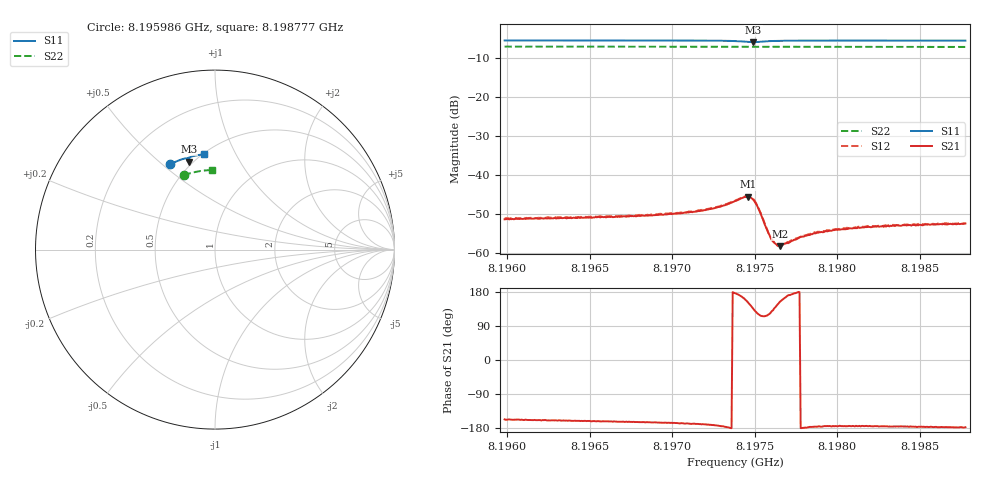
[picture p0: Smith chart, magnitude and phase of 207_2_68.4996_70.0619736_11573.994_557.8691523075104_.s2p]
#  HZ  S  RI  R  50.00
! Rohde & Schwarz Vector Network Analyzer
! Rohde-Schwarz,ZNB20-2Port,1311601062101988,3.16
! Created: UTC 3/20/2024, 5:12:59 PM
! freq[Hz]  re:S11  im:S11  re:S21  im:S21  re:S12  im:S12  re:S22  im:S22
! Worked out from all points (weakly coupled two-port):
!   401 points, 8.195986 GHz to 8.198777 GHz, reference 50 ohm
!   highest |S21| = -45.56 dB at 8.197458 GHz (marker M1); lowest = -58.3 dB at 8.197653 GHz (marker M2)
!   lowest |S11| = -5.8 dB at 8.197493 GHz (marker M3), VSWR 3.09, Z = 23.8 + j31.6 ohm
!   |S11| at or under -10 dB: nowhere
!   |S22| runs from -7.1 to -7.0 dB; largest |S21 - S12| = 0.00026
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8.1959856e9  -0.2485 0.4759  -0.00249 -0.00107  -0.00261 -0.00096  -0.173 0.4133
8.1964531e9  -0.218 0.4901  -0.0027 -0.000946  -0.00278 -0.000828  -0.1482 0.4219
8.1969206e9  -0.186 0.5026  -0.00298 -0.000791  -0.0031 -0.000683  -0.123 0.4293
8.1970811e9  -0.1741 0.5061  -0.00322 -0.000701  -0.00328 -0.000596  -0.114 0.4314
8.1971858e9  -0.1656 0.5081  -0.00344 -0.000654  -0.00355 -0.000487  -0.1083 0.4326
8.1972974e9  -0.1551 0.5093  -0.00395 -0.000364  -0.00406 -0.00023  -0.102 0.4338
8.1973812e9  -0.1452 0.5072  -0.00464 0.000289  -0.00467 0.000464  -0.0972 0.4348
8.19743e9  -0.1395 0.5016  -0.00495 0.00139  -0.00493 0.00157  -0.0945 0.4352
8.1974579e9  -0.139 0.496  -0.00469 0.0024  -0.00469 0.00263  -0.0931 0.4352
8.1974788e9  -0.1417 0.4917  -0.00405 0.00311  -0.00403 0.00334  -0.092 0.4353
8.1974928e9  -0.1446 0.49  -0.00337 0.00341  -0.00331 0.00363  -0.0914 0.4355
8.1975068e9  -0.148 0.4899  -0.00264 0.00343  -0.00259 0.00361  -0.0907 0.4356
8.1975277e9  -0.1525 0.4923  -0.00174 0.00308  -0.00165 0.00321  -0.0898 0.4358
8.1975696e9  -0.1547 0.5003  -0.000944 0.00189  -0.00091 0.00197  -0.0874 0.4365
8.1975975e9  -0.1533 0.5045  -0.000893 0.00127  -0.000852 0.00133  -0.0859 0.4367
8.1976254e9  -0.151 0.5078  -0.001 0.000864  -0.000963 0.000915  -0.0842 0.4372
8.1976533e9  -0.1485 0.5103  -0.0011 0.000539  -0.0011 0.000623  -0.0827 0.4375
8.1977789e9  -0.1372 0.5163  -0.0016 -7.84e-06  -0.00162 8.01e-05  -0.0757 0.4385
8.1978487e9  -0.1314 0.5182  -0.00174 -0.000108  -0.00178 -3.89e-05  -0.0717 0.4392
8.1980371e9  -0.1169 0.522  -0.00201 -0.000186  -0.00207 -0.000132  -0.0611 0.4404
8.1983162e9  -0.0965 0.526  -0.00218 -0.000173  -0.00224 -0.000109  -0.0453 0.4417
8.1987767e9  -0.0636 0.5306  -0.00239 -0.000104  -0.00239 1.85e-05  -0.0192 0.4429
